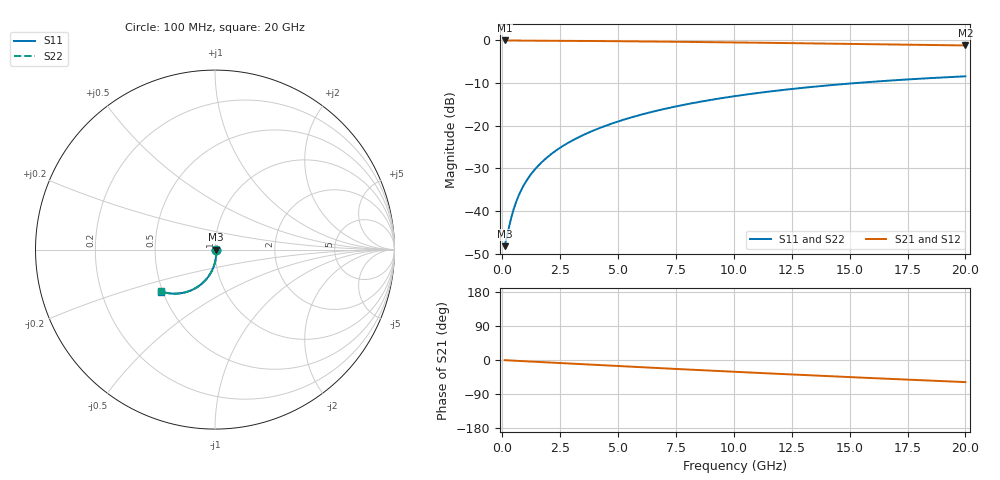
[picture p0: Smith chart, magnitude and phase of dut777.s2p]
! Touchstone file exported from HFSS 2026.1.0
!  File:  C:/ffzhzh/LocalFiles/Ansys_Project_Files/temp_train_TMRDL_777_1783155726_55132.aedt
!  Generated:  05:03:52 PM Jul  4, 2026
!  Design:  TMRDL
!  Project:  temp_train_TMRDL_777_1783155726_55132
! Variables:
!  h_bsmrdl = 2um
!  h_ox = 20um
!  h_rdl = 5um
!  h_sub = 80um
!  h_tmrdl = 4.22um
!  h_tsv = 80um
!  h_via = 3um
!  l_bsmrdl = 300um
!  l_sub = 1350.14um
!  l_tmrdl = 950.14um
!  m_sub = 200um
!  pitch = 25.23um
!  r_tsv = 6um
!  s_tmrdl = 10um
!  w_bsmrdl = 18um
!  w_sub = 500um
!  w_tmrdl = 23.86um
!  x_tsv_center1 = 962.07um
!  x_tsv_center2 = 1280.07um
!  x_tsv_center3 = 2254.07um
!  x_tsv_center4 = 2572.07um
!  x_tsv_center5 = 3546.07um
!  x_tsv_center6 = 3864.07um
# GHz S MA R 50.000000
! Terminal data exported
! Port[1] = TM_RDL1_1_T1
! Port[2] = TM_RDL1_1_T2
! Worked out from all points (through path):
!   200 points, 100 MHz to 20 GHz, reference 50 ohm
!   highest |S21| = -0.03 dB at 100 MHz (marker M1); lowest = -1.2 dB at 20 GHz (marker M2)
!   group delay of S21, straight-line fit = 8.08 ps
!   lowest |S11| = -48.2 dB at 100 MHz (marker M3), VSWR 1.01, Z = 50.4 - j0.0995 ohm
!   |S11| at or under -10 dB: start of sweep to 15.28 GHz
!   |S22| runs from -48.2 to -8.4 dB; largest |S21 - S12| = 6.3e-14
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0.1  0.003894 -14.7  0.9962 -0.4  0.9962 -0.4  0.003894 -14.7
! Gamma 0 0 0 0
! Port Impedance 50 0 50 0
0.3  0.006702 -37.9  0.9946 -1.1  0.9946 -1.1  0.006702 -37.9
0.4  0.008636 -46.1  0.9938 -1.5  0.9938 -1.5  0.008636 -46.1
0.5  0.01072 -52.6  0.9932 -1.8  0.9932 -1.8  0.01072 -52.6
0.6  0.01287 -57.7  0.9927 -2.1  0.9927 -2.1  0.01287 -57.7
0.7  0.01506 -61.8  0.9923 -2.4  0.9923 -2.4  0.01506 -61.8
0.9  0.01949 -68.0  0.9916 -3.0  0.9916 -3.0  0.01949 -68.0
1.2  0.02618 -74.1  0.9908 -4.0  0.9908 -4.0  0.02618 -74.1
1.6  0.03512 -79.3  0.9898 -5.3  0.9898 -5.3  0.03512 -79.3
2.1  0.04633 -83.7  0.9884 -6.9  0.9884 -6.9  0.04632 -83.7
2.7  0.05985 -87.5  0.9865 -8.8  0.9865 -8.8  0.05984 -87.5
3.5  0.078 -91.3  0.9834 -11.3  0.9834 -11.3  0.07799 -91.3
4.2  0.09395 -94.2  0.9802 -13.5  0.9802 -13.5  0.09394 -94.2
5  0.1122 -97.2  0.9763 -16.0  0.9763 -16.0  0.1122 -97.2
5.9  0.1326 -100.4  0.9714 -18.8  0.9714 -18.8  0.1326 -100.4
6.8  0.1529 -103.5  0.9662 -21.5  0.9662 -21.5  0.1528 -103.5
8.4  0.1879 -108.8  0.9561 -26.3  0.9561 -26.3  0.1878 -108.8
10.1  0.2233 -114.1  0.9445 -31.3  0.9445 -31.3  0.2233 -114.2
11.7  0.2546 -119.0  0.933 -35.9  0.933 -35.9  0.2545 -119.1
13.4  0.2854 -124.0  0.9203 -40.7  0.9203 -40.7  0.2853 -124.1
16.7  0.3374 -133.3  0.8952 -49.7  0.8952 -49.7  0.3373 -133.3
20  0.3789 -141.9  0.8708 -58.3  0.8708 -58.3  0.3788 -142.0
